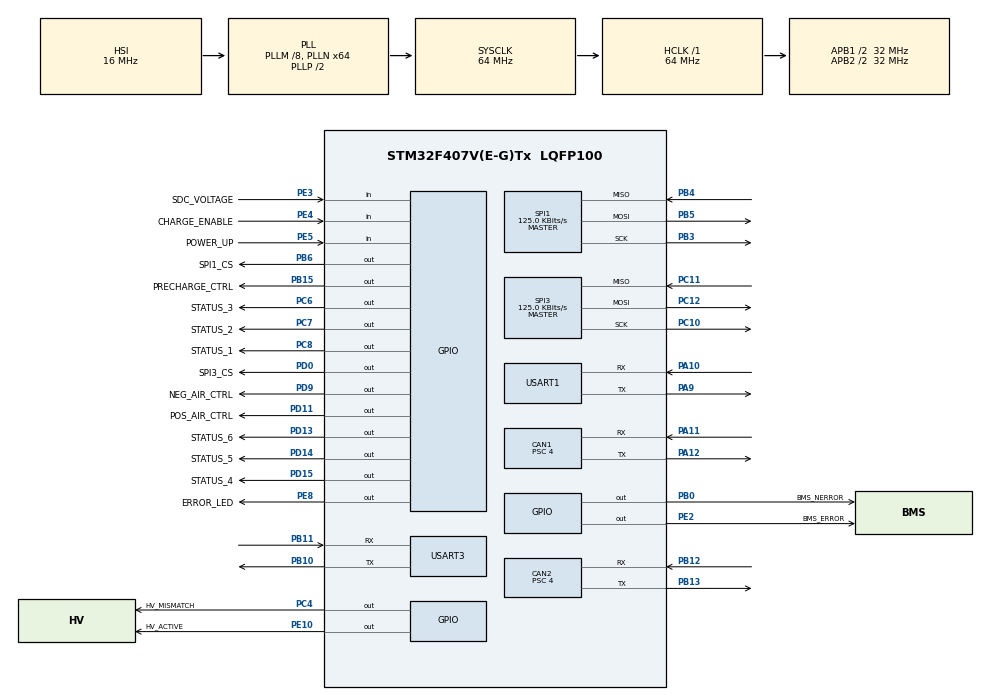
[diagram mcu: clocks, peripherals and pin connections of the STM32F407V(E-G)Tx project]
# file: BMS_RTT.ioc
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CAN1.ABOM=ENABLE
CAN1.BS1=CAN_BS1_13TQ
CAN1.BS2=CAN_BS2_2TQ
CAN1.CalculateBaudRate=500000
CAN1.CalculateTimeBit=2000
CAN1.CalculateTimeQuantum=125.0
CAN1.Mode=CAN_MODE_NORMAL
CAN1.NART=ENABLE
CAN1.Prescaler=4
CAN2.ABOM=ENABLE
CAN2.BS1=CAN_BS1_13TQ
CAN2.BS2=CAN_BS2_2TQ
CAN2.CalculateBaudRate=500000
CAN2.CalculateTimeBit=2000
CAN2.CalculateTimeQuantum=125.0
CAN2.Mode=CAN_MODE_NORMAL
CAN2.NART=ENABLE
CAN2.Prescaler=4
Mcu.Family=STM32F4
Mcu.Name=STM32F407V(E-G)Tx
Mcu.Package=LQFP100
NVIC.CAN1_RX0_IRQn=true\:0\:0\:false\:false\:true\:false\:true\:true\:true
NVIC.CAN2_RX0_IRQn=true\:0\:0\:false\:false\:true\:false\:true\:true\:true
NVIC.PriorityGroup=NVIC_PRIORITYGROUP_4
NVIC.TIM7_IRQn=true\:15\:0\:false\:false\:true\:false\:false\:true\:true
NVIC.TimeBase=TIM7_IRQn
NVIC.TimeBaseIP=TIM7
NVIC.USART1_IRQn=true\:0\:0\:false\:false\:true\:false\:true\:true\:true
NVIC.USART3_IRQn=true\:0\:0\:false\:false\:true\:false\:true\:true\:true
PA10.Mode=Asynchronous
PA10.Signal=USART1_RX
PA11.Mode=CAN_Activate
PA11.Signal=CAN1_RX
PA12.Mode=CAN_Activate
PA12.Signal=CAN1_TX
PA13.Mode=Serial_Wire
PA13.Signal=SYS_JTMS-SWDIO
PA14.Mode=Serial_Wire
PA14.Signal=SYS_JTCK-SWCLK
PA9.Mode=Asynchronous
PA9.Signal=USART1_TX
PB0.GPIO_Label=BMS_NERROR
PB0.GPIO_ModeDefaultOutputPP=GPIO_MODE_OUTPUT_PP
PB0.GPIO_PuPd=GPIO_NOPULL
PB0.Signal=GPIO_Output
PB10.Mode=Asynchronous
PB10.Signal=USART3_TX
PB11.Mode=Asynchronous
PB11.Signal=USART3_RX
PB12.Mode=CAN_Activate
PB12.Signal=CAN2_RX
PB13.Mode=CAN_Activate
PB13.Signal=CAN2_TX
PB15.GPIO_Label=PRECHARGE_CTRL
PB15.GPIO_ModeDefaultOutputPP=GPIO_MODE_OUTPUT_PP
PB15.GPIO_PuPd=GPIO_NOPULL
PB15.PinState=GPIO_PIN_RESET
PB15.Signal=GPIO_Output
PB3.GPIO_PuPd=GPIO_PULLUP
PB3.Mode=Full_Duplex_Master
PB3.Signal=SPI1_SCK
PB4.Mode=Full_Duplex_Master
PB4.Signal=SPI1_MISO
PB5.Mode=Full_Duplex_Master
PB5.Signal=SPI1_MOSI
PB6.GPIO_Label=SPI1_CS
PB6.GPIO_PuPd=GPIO_PULLUP
PB6.GPIO_Speed=GPIO_SPEED_FREQ_VERY_HIGH
PB6.PinState=GPIO_PIN_SET
PB6.Signal=GPIO_Output
PC10.GPIO_PuPd=GPIO_PULLUP
PC10.Mode=Full_Duplex_Master
PC10.Signal=SPI3_SCK
PC11.Mode=Full_Duplex_Master
PC11.Signal=SPI3_MISO
PC12.Mode=Full_Duplex_Master
PC12.Signal=SPI3_MOSI
PC4.GPIO_Label=HV_MISMATCH
PC4.GPIO_PuPd=GPIO_NOPULL
PC4.Signal=GPIO_Output
PC6.GPIO_Label=STATUS_3
PC6.GPIO_PuPd=GPIO_NOPULL
PC6.Signal=GPIO_Output
PC7.GPIO_Label=STATUS_2
PC7.Signal=GPIO_Output
PC8.GPIO_Label=STATUS_1
PC8.GPIO_PuPd=GPIO_NOPULL
PC8.Signal=GPIO_Output
PD0.GPIO_Label=SPI3_CS
PD0.GPIO_PuPd=GPIO_PULLUP
PD0.GPIO_Speed=GPIO_SPEED_FREQ_VERY_HIGH
PD0.PinState=GPIO_PIN_SET
PD0.Signal=GPIO_Output
PD11.GPIO_Label=POS_AIR_CTRL
PD11.GPIO_ModeDefaultOutputPP=GPIO_MODE_OUTPUT_OD
PD11.GPIO_PuPd=GPIO_NOPULL
PD11.PinState=GPIO_PIN_RESET
PD11.Signal=GPIO_Output
PD13.GPIO_Label=STATUS_6
PD13.Signal=GPIO_Output
PD14.GPIO_Label=STATUS_5
PD14.GPIO_PuPd=GPIO_NOPULL
PD14.Signal=GPIO_Output
PD15.GPIO_Label=STATUS_4
PD15.Signal=GPIO_Output
PD9.GPIO_Label=NEG_AIR_CTRL
PD9.GPIO_ModeDefaultOutputPP=GPIO_MODE_OUTPUT_OD
PD9.GPIO_PuPd=GPIO_NOPULL
PD9.PinState=GPIO_PIN_RESET
PD9.Signal=GPIO_Output
PE10.GPIO_Label=HV_ACTIVE
PE10.GPIO_PuPd=GPIO_NOPULL
PE10.Signal=GPIO_Output
PE2.GPIO_Label=BMS_ERROR
PE2.GPIO_ModeDefaultOutputPP=GPIO_MODE_OUTPUT_OD
PE2.GPIO_PuPd=GPIO_NOPULL
PE2.Signal=GPIO_Output
PE3.GPIO_Label=SDC_VOLTAGE
PE3.Signal=GPIO_Input
PE4.GPIO_Label=CHARGE_ENABLE
PE4.Signal=GPIO_Input
PE5.GPIO_Label=POWER_UP
PE5.Signal=GPIO_Input
PE8.GPIO_Label=ERROR_LED
PE8.GPIO_PuPd=GPIO_NOPULL
PE8.Signal=GPIO_Output
PH0-OSC_IN.Mode=HSE-External-Oscillator
PH0-OSC_IN.Signal=RCC_OSC_IN
PH1-OSC_OUT.Mode=HSE-External-Oscillator
PH1-OSC_OUT.Signal=RCC_OSC_OUT
ProjectManager.HeapSize=0x200
ProjectManager.StackSize=0x400
ProjectManager.TargetToolchain=CMake
RCC.48MHZClocksFreq_Value=32000000
RCC.AHBFreq_Value=64000000
RCC.APB1CLKDivider=RCC_HCLK_DIV2
RCC.APB1Freq_Value=32000000
RCC.APB1TimFreq_Value=64000000
RCC.APB2CLKDivider=RCC_HCLK_DIV2
RCC.APB2Freq_Value=32000000
RCC.APB2TimFreq_Value=64000000
RCC.CortexFreq_Value=64000000
RCC.HCLKFreq_Value=64000000
RCC.HSE_VALUE=25000000
RCC.HSI_VALUE=16000000
RCC.LSE_VALUE=32768
RCC.PLLM=8
RCC.PLLN=64
RCC.SYSCLKFreq_VALUE=64000000
RCC.SYSCLKSource=RCC_SYSCLKSOURCE_PLLCLK
RCC.VCOOutputFreq_Value=128000000
RealThread.RT-Thread.3.1.3.RTAaThreadCcRTOSJjkernel=true
RealThread.RT-Thread.3.1.3.RTAaThreadCcRTOSJjshell=true
RealThread.RT-Thread.3.1.3.RT_DEBUG=1
RealThread.RT-Thread.3.1.3.RT_DEBUG_INIT=1
RealThread.RT-Thread.3.1.3.RT_USING_EVENT=1
RealThread.RT-Thread.3.1.3.RT_USING_HEAP=1
RealThread.RT-Thread.3.1.3.RT_USING_HOOK=1
RealThread.RT-Thread.3.1.3.RT_USING_IDLE_HOOK=1
RealThread.RT-Thread.3.1.3.RT_USING_MAILBOX=1
RealThread.RT-Thread.3.1.3.RT_USING_MESSAGEQUEUE=1
RealThread.RT-Thread.3.1.3.RT_USING_MUTEX=1
RealThread.RT-Thread.3.1.3.RT_USING_OVERFLOW_CHECK=1
RealThread.RT-Thread.3.1.3.RT_USING_TIMER_SOFT=1
RealThread.RT-Thread.3.1.3.RT_USING_TINY_SIZE=1
SPI1.BaudRatePrescaler=SPI_BAUDRATEPRESCALER_256
SPI1.CLKPhase=SPI_PHASE_2EDGE
SPI1.CLKPolarity=SPI_POLARITY_HIGH
SPI1.CalculateBaudRate=125.0 KBits/s
SPI1.Direction=SPI_DIRECTION_2LINES
SPI1.Mode=SPI_MODE_MASTER
SPI1.VirtualType=VM_MASTER
SPI3.BaudRatePrescaler=SPI_BAUDRATEPRESCALER_256
SPI3.CLKPhase=SPI_PHASE_2EDGE
SPI3.CLKPolarity=SPI_POLARITY_HIGH
SPI3.CalculateBaudRate=125.0 KBits/s
SPI3.Direction=SPI_DIRECTION_2LINES
SPI3.Mode=SPI_MODE_MASTER
SPI3.VirtualType=VM_MASTER
USART1.VirtualMode=VM_ASYNC
USART3.VirtualMode=VM_ASYNC
VP_RealThread.RT-Thread_VS_RTOSJjRTAaThread_3.1.3.Mode=RTOSJjRTAaThread
VP_SYS_VS_tim7.Mode=TIM7
board=custom

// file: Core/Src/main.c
/* USER CODE BEGIN Header */
/**
  ******************************************************************************
  * @file           : main.c
  * @brief          : Main program body
  ******************************************************************************
  * @attention
  *
  * Copyright (c) 2026 STMicroelectronics.
  * All rights reserved.
  *
  * This software is licensed under terms that can be found in the LICENSE file
  * in the root directory of this software component.
  * If no LICENSE file comes with this software, it is provided AS-IS.
  *
  ******************************************************************************
  */
/* USER CODE END Header */
#include "main.h"
#include "can.h"
#include "spi.h"
#include "usart.h"
#include "gpio.h"

/* USER CODE BEGIN Includes */
#include "bms_io.h"
#include "bms_config.h"
#include "can_custom.h"
#include "shunt_monitor.h"
#include "slave_monitor.h"
#include "soc_estimation.h"
#include "state_machine.h"
#include "telemetry_serial.h"
#include "LTC68041.h"
#include <rtthread.h>

#include <stdio.h>
#include <math.h>
#include "stm32f4xx_hal.h"
#include "stm32f4xx_hal_gpio.h"
/* USER CODE END Includes */

/* USER CODE BEGIN PV */
/* sdc_closed 定义在 bms_io.c（虚拟 IO 层持有，可被串口注入覆盖） */
/* USER CODE END PV */

void SystemClock_Config(void);
/* USER CODE BEGIN PFP */
void bms_app_start(void);
/* USER CODE END PFP */

/* USER CODE BEGIN 0 */

/* CAN 波特率取自 bms_config，覆盖 MX_CANx_Init 里 CubeMX 生成的固定预分频。
 * 位时间分段固定 BS1=13TQ/BS2=2TQ/SJW=1TQ（共 16TQ），速率只由预分频决定：
 * PCLK1 32MHz/(16×4)=500k、/(16×8)=250k，仅支持配置校验过的两档。
 * 放在 USER CODE 区而非 can.c 的生成区：重新生成会覆盖那边的手改。
 * 改波特率需重启后生效（不做热切换）。 */
static void can_apply_config_baudrate(void)
{
  uint32_t want1 = (bms_config.can1_baudrate == 250000) ? 8U : 4U;
  uint32_t want2 = (bms_config.can2_baudrate == 250000) ? 8U : 4U;

  /* 只在与生成值不同时重跑 HAL_CAN_Init（State==READY 会跳过 MspInit，安全） */
  if (hcan1.Init.Prescaler != want1) {
    hcan1.Init.Prescaler = want1;
    if (HAL_CAN_Init(&hcan1) != HAL_OK) {
      Error_Handler();
    }
  }
  if (hcan2.Init.Prescaler != want2) {
    hcan2.Init.Prescaler = want2;
    if (HAL_CAN_Init(&hcan2) != HAL_OK) {
      Error_Handler();
    }
  }
}

/* USER CODE END 0 */

int main(void)
{

  /* MCU Configuration--------------------------------------------------------*/

  /* Reset of all peripherals, Initializes the Flash interface and the Systick. */
  HAL_Init();

  /* Configure the system clock */
  SystemClock_Config();

  /* USER CODE BEGIN SysInit */
  /* rt_hw_board_init() 在 PLL 启动前按 HSI 频率装了 SysTick LOAD；现在时钟
   * 已升到目标频率，按实际 SystemCoreClock 重装，否则 RT tick 会按倍率偏快，
   * 所有 rt_thread_mdelay 都缩水。SysTick 是 RTOS 时基，TIM7(HAL tick)不受影响。 */
  SysTick->LOAD = (uint32_t)(SystemCoreClock / RT_TICK_PER_SECOND) - 1UL;
  SysTick->VAL  = 0UL;
  SysTick->CTRL |= SysTick_CTRL_ENABLE_Msk;

  /* 配置必须先于 CAN 初始化：can_apply_config_baudrate 的预分频取自 bms_config 的
   * 波特率，且 bms_config_init 内部会按配置刷新分流器/AFE 的阈值与去抖时间，并置
   * flash_layout_ready（决定 SOC/配置能否落盘）。漏掉这一句时 bms_config 恒为 0（BSS）、
   * 8 个监视器 delay_ms=0，上电首拍即判故障 → 恒 TS_ERROR、AIR 不闭合。
   * 放在 USER CODE 区（而非生成区）以免 CubeMX 重新生成时丢失；与裸机版同序
   * （BMS_Bare main.c:128-131）。 */
  bms_config_init();
  /* USER CODE END SysInit */

  /* Initialize all configured peripherals */
  MX_GPIO_Init();
  MX_CAN1_Init();
  MX_CAN2_Init();
  MX_SPI1_Init();
  MX_SPI3_Init();
  MX_USART3_UART_Init();
  MX_USART1_UART_Init();
  /* USER CODE BEGIN 2 */
  /* CAN 外设已就绪，按 bms_config 覆盖生成时的缺省波特率（配置在 SysInit 已加载）。 */
  can_apply_config_baudrate();
  /* 启动 BMS 应用：CAN 过滤器/缓冲、状态机、双口遥测(含 0x13 重入)，
   * 并创建 can_rx / ctrl / telemetry 三个线程。 */
  bms_app_start();
  /* USER CODE END 2 */

  /* Infinite loop */
  while (1)
  {

    /* USER CODE BEGIN 3 */
    /* 让出 CPU：main 线程优先级(10)高于 LED 心跳线程(15)，忙等会饿死它 */
    rt_thread_mdelay(1000);
  }
  /* USER CODE END 3 */
}

void SystemClock_Config(void)
{
  RCC_OscInitTypeDef RCC_OscInitStruct = {0};
  RCC_ClkInitTypeDef RCC_ClkInitStruct = {0};

  /** Configure the main internal regulator output voltage
  */
  __HAL_RCC_PWR_CLK_ENABLE();
  __HAL_PWR_VOLTAGESCALING_CONFIG(PWR_REGULATOR_VOLTAGE_SCALE1);

  /** Initializes the RCC Oscillators according to the specified parameters
  * in the RCC_OscInitTypeDef structure.
  */
  RCC_OscInitStruct.OscillatorType = RCC_OSCILLATORTYPE_HSI;
  RCC_OscInitStruct.HSIState = RCC_HSI_ON;
  RCC_OscInitStruct.HSICalibrationValue = RCC_HSICALIBRATION_DEFAULT;
  RCC_OscInitStruct.PLL.PLLState = RCC_PLL_ON;
  RCC_OscInitStruct.PLL.PLLSource = RCC_PLLSOURCE_HSI;
  RCC_OscInitStruct.PLL.PLLM = 8;
  RCC_OscInitStruct.PLL.PLLN = 64;
  RCC_OscInitStruct.PLL.PLLP = RCC_PLLP_DIV2;
  RCC_OscInitStruct.PLL.PLLQ = 4;
  if (HAL_RCC_OscConfig(&RCC_OscInitStruct) != HAL_OK)
  {
    Error_Handler();
  }

  /** Initializes the CPU, AHB and APB buses clocks
  */
  RCC_ClkInitStruct.ClockType = RCC_CLOCKTYPE_HCLK|RCC_CLOCKTYPE_SYSCLK
                              |RCC_CLOCKTYPE_PCLK1|RCC_CLOCKTYPE_PCLK2;
  RCC_ClkInitStruct.SYSCLKSource = RCC_SYSCLKSOURCE_PLLCLK;
  RCC_ClkInitStruct.AHBCLKDivider = RCC_SYSCLK_DIV1;
  RCC_ClkInitStruct.APB1CLKDivider = RCC_HCLK_DIV2;
  RCC_ClkInitStruct.APB2CLKDivider = RCC_HCLK_DIV2;

  if (HAL_RCC_ClockConfig(&RCC_ClkInitStruct, FLASH_LATENCY_2) != HAL_OK)
  {
    Error_Handler();
  }
}

void HAL_TIM_PeriodElapsedCallback(TIM_HandleTypeDef *htim)
{
  if (htim->Instance == TIM7)
  {
    HAL_IncTick();
  }
}

void Error_Handler(void)
{
  /* USER CODE BEGIN Error_Handler_Debug */
  /* User can add his own implementation to report the HAL error return state */
  __disable_irq();
  while (1)
  {
    HAL_GPIO_WritePin(ERROR_LED_GPIO_Port, ERROR_LED_Pin, GPIO_PIN_SET);
    ts_sm_ctrl_AIR_pwr(AIR_POS, 0);
    ts_sm_ctrl_AIR_pwr(AIR_NEG, 0);
    ts_sm_ctrl_AIR_pwr(AIR_PRE, 0);
  }
  /* USER CODE END Error_Handler_Debug */
}
